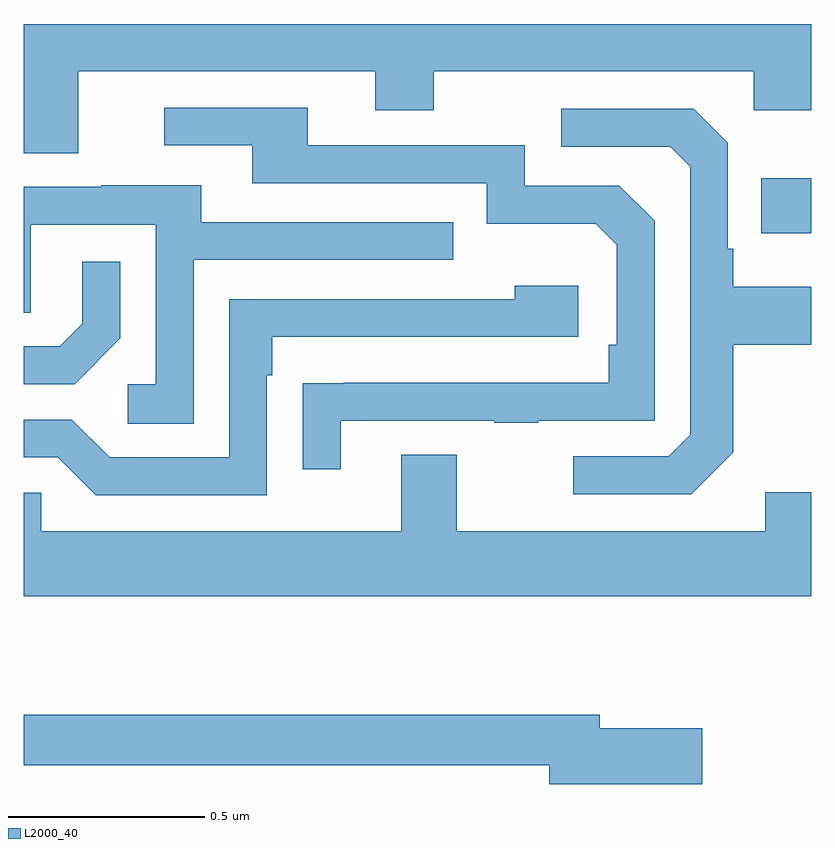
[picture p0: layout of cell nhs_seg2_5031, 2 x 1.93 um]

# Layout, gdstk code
import gdstk
lib = gdstk.Library(unit=1e-6, precision=1e-09)
def R(c, l, rs):  # rectangles x0, y0, x1, y1
    for r in rs: c.add(gdstk.rectangle(r[:2], r[2:], *l))
def P(c, l, *ps):  # polygons
    for p in ps: c.add(gdstk.Polygon(p, *l))
L2000_40 = (2000, 40)

nhs_seg2_5031 = lib.new_cell('nhs_seg2_5031')
R(nhs_seg2_5031, L2000_40, [(175.873,603.269,176,603.409)])
P(nhs_seg2_5031, L2000_40, [(174.139,603.68),(174.893,603.68),(174.893,603.581),(175.041,603.581),(175.041,603.68),(175.854,603.68),(175.854,603.581),(176,603.581),(176,603.8),(174,603.8),(174,603.472),(174.139,603.472)],
  [(174.805,602.793),(175.195,602.793),(175.195,602.788),(175.307,602.788),(175.307,602.793),(175.602,602.793),(175.602,603.3),(175.512,603.39),(175.272,603.39),(175.272,603.492),(174.721,603.492),(174.721,603.588),(174.357,603.588),(174.357,603.492),(174.581,603.492),(174.581,603.396),(175.176,603.396),(175.176,603.293),(175.453,603.293),(175.506,603.24),(175.506,602.986),(175.486,602.986),(175.486,602.889),(174.811,602.889),(174.811,602.888),(174.709,602.888),(174.709,602.67),(174.805,602.67)],
  [(175.801,602.713),(175.801,602.986),(176,602.986),(176,603.133),(175.801,603.133),(175.801,603.229),(175.788,603.229),(175.788,603.498),(175.701,603.585),(175.365,603.585),(175.365,603.489),(175.641,603.489),(175.692,603.438),(175.692,602.757),(175.638,602.703),(175.395,602.703),(175.395,602.607),(175.695,602.607)],
  [(174.432,603.201),(175.091,603.201),(175.091,603.297),(174.451,603.297),(174.451,603.391),(174.197,603.391),(174.197,603.387),(174,603.387),(174,603.067),(174.018,603.067),(174.018,603.291),(174.336,603.291),(174.336,602.886),(174.264,602.886),(174.264,602.785),(174.432,602.785)],
  [(174.246,603.002),(174.246,603.196),(174.149,603.196),(174.149,603.039),(174.092,602.982),(174,602.982),(174,602.886),(174.13,602.886)],
  [(174.618,602.909),(174.631,602.909),(174.631,603.006),(175.408,603.006),(175.408,603.136),(175.247,603.136),(175.247,603.102),(174.522,603.102),(174.522,602.7),(174.219,602.7),(174.123,602.796),(174,602.796),(174,602.7),(174.087,602.7),(174.183,602.604),(174.618,602.604)],
  [(176,602.611),(175.883,602.611),(175.883,602.512),(175.099,602.512),(175.099,602.707),(174.959,602.707),(174.959,602.512),(174.045,602.512),(174.045,602.61),(174,602.61),(174,602.348),(176,602.348)],
  [(175.723,602.013),(175.462,602.013),(175.462,602.047),(174,602.047),(174,601.918),(175.334,601.918),(175.334,601.871),(175.723,601.871)])

lib.write_gds('nhs_seg2_5031.gds')
